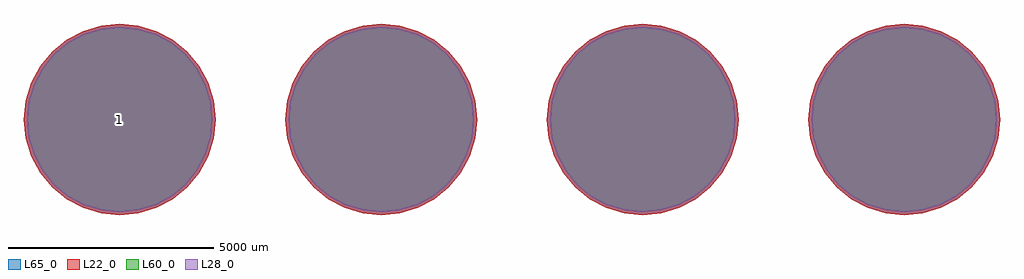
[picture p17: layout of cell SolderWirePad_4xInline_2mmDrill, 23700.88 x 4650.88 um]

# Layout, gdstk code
import gdstk
lib = gdstk.Library(unit=1e-6, precision=1e-09)
def P(c, l, *ps):  # polygons
    for p in ps: c.add(gdstk.Polygon(p, *l))
L22_0 = (22, 0)
L28_0 = (28, 0)
L60_0 = (60, 0)
L65_0 = (65, 0)

solderwirepad_4xinline_2 = lib.new_cell('SolderWirePad_4xInline_2mmDrill')
P(solderwirepad_4xinline_2, L22_0, [(11850.44,0),(11805.757,453.671),(11673.426,889.907),(11458.533,1291.945),(11169.334,1644.334),(10816.945,1933.533),(10414.907,2148.426),(9978.671,2280.757),(9525,2325.44),(9071.329,2280.757),(8635.093,2148.426),(8233.055,1933.533),(7880.666,1644.334),(7591.467,1291.945),(7376.574,889.907),(7244.243,453.671),(7199.56,0),(7244.243,-453.671),(7376.574,-889.907),(7591.467,-1291.945),(7880.666,-1644.334),(8233.055,-1933.533),(8635.093,-2148.426),(9071.329,-2280.757),(9525,-2325.44),(9978.671,-2280.757),(10414.907,-2148.426),(10816.945,-1933.533),(11169.334,-1644.334),(11458.533,-1291.945),(11673.426,-889.907),(11805.757,-453.671)],
  [(5500.44,0),(5455.757,453.671),(5323.426,889.907),(5108.533,1291.945),(4819.334,1644.334),(4466.945,1933.533),(4064.907,2148.426),(3628.671,2280.757),(3175,2325.44),(2721.329,2280.757),(2285.093,2148.426),(1883.055,1933.533),(1530.666,1644.334),(1241.467,1291.945),(1026.574,889.907),(894.243,453.671),(849.56,0),(894.243,-453.671),(1026.574,-889.907),(1241.467,-1291.945),(1530.666,-1644.334),(1883.055,-1933.533),(2285.093,-2148.426),(2721.329,-2280.757),(3175,-2325.44),(3628.671,-2280.757),(4064.907,-2148.426),(4466.945,-1933.533),(4819.334,-1644.334),(5108.533,-1291.945),(5323.426,-889.907),(5455.757,-453.671)],
  [(-849.56,0),(-894.243,453.671),(-1026.574,889.907),(-1241.467,1291.945),(-1530.666,1644.334),(-1883.055,1933.533),(-2285.093,2148.426),(-2721.329,2280.757),(-3175,2325.44),(-3628.671,2280.757),(-4064.907,2148.426),(-4466.945,1933.533),(-4819.334,1644.334),(-5108.533,1291.945),(-5323.426,889.907),(-5455.757,453.671),(-5500.44,0),(-5455.757,-453.671),(-5323.426,-889.907),(-5108.533,-1291.945),(-4819.334,-1644.334),(-4466.945,-1933.533),(-4064.907,-2148.426),(-3628.671,-2280.757),(-3175,-2325.44),(-2721.329,-2280.757),(-2285.093,-2148.426),(-1883.055,-1933.533),(-1530.666,-1644.334),(-1241.467,-1291.945),(-1026.574,-889.907),(-894.243,-453.671)],
  [(-7199.56,0),(-7244.243,453.671),(-7376.574,889.907),(-7591.467,1291.945),(-7880.666,1644.334),(-8233.055,1933.533),(-8635.093,2148.426),(-9071.329,2280.757),(-9525,2325.44),(-9978.671,2280.757),(-10414.907,2148.426),(-10816.945,1933.533),(-11169.334,1644.334),(-11458.533,1291.945),(-11673.426,889.907),(-11805.757,453.671),(-11850.44,0),(-11805.757,-453.671),(-11673.426,-889.907),(-11458.533,-1291.945),(-11169.334,-1644.334),(-10816.945,-1933.533),(-10414.907,-2148.426),(-9978.671,-2280.757),(-9525,-2325.44),(-9071.329,-2280.757),(-8635.093,-2148.426),(-8233.055,-1933.533),(-7880.666,-1644.334),(-7591.467,-1291.945),(-7376.574,-889.907),(-7244.243,-453.671)])
P(solderwirepad_4xinline_2, L28_0, [(11775.44,0),(11732.198,439.039),(11604.135,861.206),(11396.172,1250.277),(11116.301,1591.301),(10775.277,1871.172),(10386.206,2079.135),(9964.039,2207.198),(9525,2250.44),(9085.961,2207.198),(8663.794,2079.135),(8274.723,1871.172),(7933.699,1591.301),(7653.828,1250.277),(7445.865,861.206),(7317.802,439.039),(7274.56,0),(7317.802,-439.039),(7445.865,-861.206),(7653.828,-1250.277),(7933.699,-1591.301),(8274.723,-1871.172),(8663.794,-2079.135),(9085.961,-2207.198),(9525,-2250.44),(9964.039,-2207.198),(10386.206,-2079.135),(10775.277,-1871.172),(11116.301,-1591.301),(11396.172,-1250.277),(11604.135,-861.206),(11732.198,-439.039)],
  [(5425.44,0),(5382.198,439.039),(5254.135,861.206),(5046.172,1250.277),(4766.301,1591.301),(4425.277,1871.172),(4036.206,2079.135),(3614.039,2207.198),(3175,2250.44),(2735.961,2207.198),(2313.794,2079.135),(1924.723,1871.172),(1583.699,1591.301),(1303.828,1250.277),(1095.865,861.206),(967.802,439.039),(924.56,0),(967.802,-439.039),(1095.865,-861.206),(1303.828,-1250.277),(1583.699,-1591.301),(1924.723,-1871.172),(2313.794,-2079.135),(2735.961,-2207.198),(3175,-2250.44),(3614.039,-2207.198),(4036.206,-2079.135),(4425.277,-1871.172),(4766.301,-1591.301),(5046.172,-1250.277),(5254.135,-861.206),(5382.198,-439.039)],
  [(-924.56,0),(-967.802,439.039),(-1095.865,861.206),(-1303.828,1250.277),(-1583.699,1591.301),(-1924.723,1871.172),(-2313.794,2079.135),(-2735.961,2207.198),(-3175,2250.44),(-3614.039,2207.198),(-4036.206,2079.135),(-4425.277,1871.172),(-4766.301,1591.301),(-5046.172,1250.277),(-5254.135,861.206),(-5382.198,439.039),(-5425.44,0),(-5382.198,-439.039),(-5254.135,-861.206),(-5046.172,-1250.277),(-4766.301,-1591.301),(-4425.277,-1871.172),(-4036.206,-2079.135),(-3614.039,-2207.198),(-3175,-2250.44),(-2735.961,-2207.198),(-2313.794,-2079.135),(-1924.723,-1871.172),(-1583.699,-1591.301),(-1303.828,-1250.277),(-1095.865,-861.206),(-967.802,-439.039)],
  [(-7274.56,0),(-7317.802,439.039),(-7445.865,861.206),(-7653.828,1250.277),(-7933.699,1591.301),(-8274.723,1871.172),(-8663.794,2079.135),(-9085.961,2207.198),(-9525,2250.44),(-9964.039,2207.198),(-10386.206,2079.135),(-10775.277,1871.172),(-11116.301,1591.301),(-11396.172,1250.277),(-11604.135,861.206),(-11732.198,439.039),(-11775.44,0),(-11732.198,-439.039),(-11604.135,-861.206),(-11396.172,-1250.277),(-11116.301,-1591.301),(-10775.277,-1871.172),(-10386.206,-2079.135),(-9964.039,-2207.198),(-9525,-2250.44),(-9085.961,-2207.198),(-8663.794,-2079.135),(-8274.723,-1871.172),(-7933.699,-1591.301),(-7653.828,-1250.277),(-7445.865,-861.206),(-7317.802,-439.039)])
P(solderwirepad_4xinline_2, L60_0, [(11775.44,0),(11732.198,439.039),(11604.135,861.206),(11396.172,1250.277),(11116.301,1591.301),(10775.277,1871.172),(10386.206,2079.135),(9964.039,2207.198),(9525,2250.44),(9085.961,2207.198),(8663.794,2079.135),(8274.723,1871.172),(7933.699,1591.301),(7653.828,1250.277),(7445.865,861.206),(7317.802,439.039),(7274.56,0),(7317.802,-439.039),(7445.865,-861.206),(7653.828,-1250.277),(7933.699,-1591.301),(8274.723,-1871.172),(8663.794,-2079.135),(9085.961,-2207.198),(9525,-2250.44),(9964.039,-2207.198),(10386.206,-2079.135),(10775.277,-1871.172),(11116.301,-1591.301),(11396.172,-1250.277),(11604.135,-861.206),(11732.198,-439.039)],
  [(5425.44,0),(5382.198,439.039),(5254.135,861.206),(5046.172,1250.277),(4766.301,1591.301),(4425.277,1871.172),(4036.206,2079.135),(3614.039,2207.198),(3175,2250.44),(2735.961,2207.198),(2313.794,2079.135),(1924.723,1871.172),(1583.699,1591.301),(1303.828,1250.277),(1095.865,861.206),(967.802,439.039),(924.56,0),(967.802,-439.039),(1095.865,-861.206),(1303.828,-1250.277),(1583.699,-1591.301),(1924.723,-1871.172),(2313.794,-2079.135),(2735.961,-2207.198),(3175,-2250.44),(3614.039,-2207.198),(4036.206,-2079.135),(4425.277,-1871.172),(4766.301,-1591.301),(5046.172,-1250.277),(5254.135,-861.206),(5382.198,-439.039)],
  [(-924.56,0),(-967.802,439.039),(-1095.865,861.206),(-1303.828,1250.277),(-1583.699,1591.301),(-1924.723,1871.172),(-2313.794,2079.135),(-2735.961,2207.198),(-3175,2250.44),(-3614.039,2207.198),(-4036.206,2079.135),(-4425.277,1871.172),(-4766.301,1591.301),(-5046.172,1250.277),(-5254.135,861.206),(-5382.198,439.039),(-5425.44,0),(-5382.198,-439.039),(-5254.135,-861.206),(-5046.172,-1250.277),(-4766.301,-1591.301),(-4425.277,-1871.172),(-4036.206,-2079.135),(-3614.039,-2207.198),(-3175,-2250.44),(-2735.961,-2207.198),(-2313.794,-2079.135),(-1924.723,-1871.172),(-1583.699,-1591.301),(-1303.828,-1250.277),(-1095.865,-861.206),(-967.802,-439.039)],
  [(-7274.56,0),(-7317.802,439.039),(-7445.865,861.206),(-7653.828,1250.277),(-7933.699,1591.301),(-8274.723,1871.172),(-8663.794,2079.135),(-9085.961,2207.198),(-9525,2250.44),(-9964.039,2207.198),(-10386.206,2079.135),(-10775.277,1871.172),(-11116.301,1591.301),(-11396.172,1250.277),(-11604.135,861.206),(-11732.198,439.039),(-11775.44,0),(-11732.198,-439.039),(-11604.135,-861.206),(-11396.172,-1250.277),(-11116.301,-1591.301),(-10775.277,-1871.172),(-10386.206,-2079.135),(-9964.039,-2207.198),(-9525,-2250.44),(-9085.961,-2207.198),(-8663.794,-2079.135),(-8274.723,-1871.172),(-7933.699,-1591.301),(-7653.828,-1250.277),(-7445.865,-861.206),(-7317.802,-439.039)])
P(solderwirepad_4xinline_2, L65_0, [(11850.44,0),(11805.757,453.671),(11673.426,889.907),(11458.533,1291.945),(11169.334,1644.334),(10816.945,1933.533),(10414.907,2148.426),(9978.671,2280.757),(9525,2325.44),(9071.329,2280.757),(8635.093,2148.426),(8233.055,1933.533),(7880.666,1644.334),(7591.467,1291.945),(7376.574,889.907),(7244.243,453.671),(7199.56,0),(7244.243,-453.671),(7376.574,-889.907),(7591.467,-1291.945),(7880.666,-1644.334),(8233.055,-1933.533),(8635.093,-2148.426),(9071.329,-2280.757),(9525,-2325.44),(9978.671,-2280.757),(10414.907,-2148.426),(10816.945,-1933.533),(11169.334,-1644.334),(11458.533,-1291.945),(11673.426,-889.907),(11805.757,-453.671)],
  [(5500.44,0),(5455.757,453.671),(5323.426,889.907),(5108.533,1291.945),(4819.334,1644.334),(4466.945,1933.533),(4064.907,2148.426),(3628.671,2280.757),(3175,2325.44),(2721.329,2280.757),(2285.093,2148.426),(1883.055,1933.533),(1530.666,1644.334),(1241.467,1291.945),(1026.574,889.907),(894.243,453.671),(849.56,0),(894.243,-453.671),(1026.574,-889.907),(1241.467,-1291.945),(1530.666,-1644.334),(1883.055,-1933.533),(2285.093,-2148.426),(2721.329,-2280.757),(3175,-2325.44),(3628.671,-2280.757),(4064.907,-2148.426),(4466.945,-1933.533),(4819.334,-1644.334),(5108.533,-1291.945),(5323.426,-889.907),(5455.757,-453.671)],
  [(-849.56,0),(-894.243,453.671),(-1026.574,889.907),(-1241.467,1291.945),(-1530.666,1644.334),(-1883.055,1933.533),(-2285.093,2148.426),(-2721.329,2280.757),(-3175,2325.44),(-3628.671,2280.757),(-4064.907,2148.426),(-4466.945,1933.533),(-4819.334,1644.334),(-5108.533,1291.945),(-5323.426,889.907),(-5455.757,453.671),(-5500.44,0),(-5455.757,-453.671),(-5323.426,-889.907),(-5108.533,-1291.945),(-4819.334,-1644.334),(-4466.945,-1933.533),(-4064.907,-2148.426),(-3628.671,-2280.757),(-3175,-2325.44),(-2721.329,-2280.757),(-2285.093,-2148.426),(-1883.055,-1933.533),(-1530.666,-1644.334),(-1241.467,-1291.945),(-1026.574,-889.907),(-894.243,-453.671)],
  [(-7199.56,0),(-7244.243,453.671),(-7376.574,889.907),(-7591.467,1291.945),(-7880.666,1644.334),(-8233.055,1933.533),(-8635.093,2148.426),(-9071.329,2280.757),(-9525,2325.44),(-9978.671,2280.757),(-10414.907,2148.426),(-10816.945,1933.533),(-11169.334,1644.334),(-11458.533,1291.945),(-11673.426,889.907),(-11805.757,453.671),(-11850.44,0),(-11805.757,-453.671),(-11673.426,-889.907),(-11458.533,-1291.945),(-11169.334,-1644.334),(-10816.945,-1933.533),(-10414.907,-2148.426),(-9978.671,-2280.757),(-9525,-2325.44),(-9071.329,-2280.757),(-8635.093,-2148.426),(-8233.055,-1933.533),(-7880.666,-1644.334),(-7591.467,-1291.945),(-7376.574,-889.907),(-7244.243,-453.671)])
solderwirepad_4xinline_2.add(gdstk.Label('1', (-9525,0), layer=28, texttype=0))
solderwirepad_4xinline_2.add(gdstk.Label('type', (0,-3810), layer=9, texttype=0))
solderwirepad_4xinline_2.add(gdstk.Label('devicename', (0,3810), layer=9, texttype=0))

lib.write_gds('SolderWirePad_4xInline_2mmDrill.gds')
